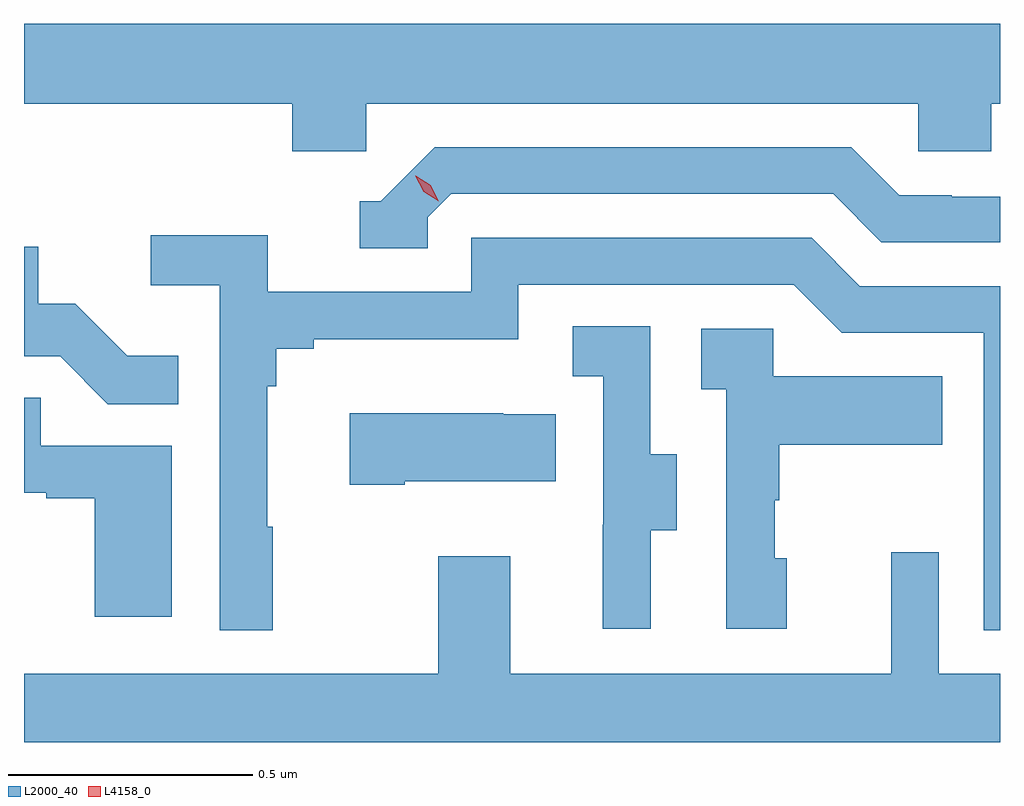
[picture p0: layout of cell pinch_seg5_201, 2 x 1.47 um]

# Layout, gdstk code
import gdstk
lib = gdstk.Library(unit=1e-6, precision=1e-09)
def P(c, l, *ps):  # polygons
    for p in ps: c.add(gdstk.Polygon(p, *l))
L2000_40 = (2000, 40)
L4158_0 = (4158, 0)

pinch_seg5_201 = lib.new_cell('pinch_seg5_201')
P(pinch_seg5_201, L2000_40, [(1009.722,900.716),(1010.853,900.716),(1010.853,900.618),(1011.003,900.618),(1011.003,900.716),(1011.021,900.716),(1011.021,900.88),(1009.021,900.88),(1009.021,900.716),(1009.571,900.716),(1009.571,900.618),(1009.722,900.618)],
  [(1009.848,900.483),(1009.896,900.531),(1010.679,900.531),(1010.778,900.432),(1011.021,900.432),(1011.021,900.525),(1010.922,900.525),(1010.922,900.528),(1010.815,900.528),(1010.716,900.627),(1009.863,900.627),(1009.752,900.516),(1009.709,900.516),(1009.709,900.42),(1009.848,900.42)],
  [(1009.531,899.849),(1009.519,899.849),(1009.519,900.137),(1009.538,900.137),(1009.538,900.214),(1009.615,900.214),(1009.615,900.233),(1010.034,900.233),(1010.034,900.345),(1010.598,900.345),(1010.697,900.246),(1010.988,900.246),(1010.988,899.637),(1011.021,899.637),(1011.021,900.342),(1010.734,900.342),(1010.635,900.441),(1009.938,900.441),(1009.938,900.33),(1009.52,900.33),(1009.52,900.446),(1009.281,900.446),(1009.281,900.344),(1009.422,900.344),(1009.422,899.637),(1009.531,899.637)],
  [(1009.337,900.199),(1009.233,900.199),(1009.126,900.306),(1009.05,900.306),(1009.05,900.423),(1009.021,900.423),(1009.021,900.198),(1009.095,900.198),(1009.193,900.1),(1009.337,900.1)],
  [(1010.305,899.842),(1010.359,899.842),(1010.359,899.997),(1010.304,899.997),(1010.304,900.26),(1010.145,900.26),(1010.145,900.157),(1010.208,900.157),(1010.208,899.853),(1010.207,899.853),(1010.207,899.64),(1010.305,899.64)],
  [(1010.584,899.784),(1010.559,899.784),(1010.559,899.903),(1010.569,899.903),(1010.569,900.017),(1010.903,900.017),(1010.903,900.157),(1010.556,900.157),(1010.556,900.255),(1010.409,900.255),(1010.409,900.131),(1010.46,900.131),(1010.46,899.64),(1010.584,899.64)],
  [(1009.324,900.015),(1009.055,900.015),(1009.055,900.113),(1009.021,900.113),(1009.021,899.919),(1009.067,899.919),(1009.067,899.907),(1009.166,899.907),(1009.166,899.664),(1009.324,899.664)],
  [(1009.801,899.942),(1010.111,899.942),(1010.111,900.079),(1010.003,900.079),(1010.003,900.082),(1009.689,900.082),(1009.689,899.935),(1009.801,899.935)],
  [(1011.021,899.548),(1010.895,899.548),(1010.895,899.797),(1010.798,899.797),(1010.798,899.548),(1010.017,899.548),(1010.017,899.788),(1009.87,899.788),(1009.87,899.548),(1009.021,899.548),(1009.021,899.407),(1011.021,899.407)])
P(pinch_seg5_201, L4158_0, [(1009.871,900.516),(1009.84,900.535),(1009.823,900.568),(1009.823,900.568),(1009.824,900.568),(1009.854,900.549),(1009.871,900.516),(1009.871,900.516)])

lib.write_gds('pinch_seg5_201.gds')
